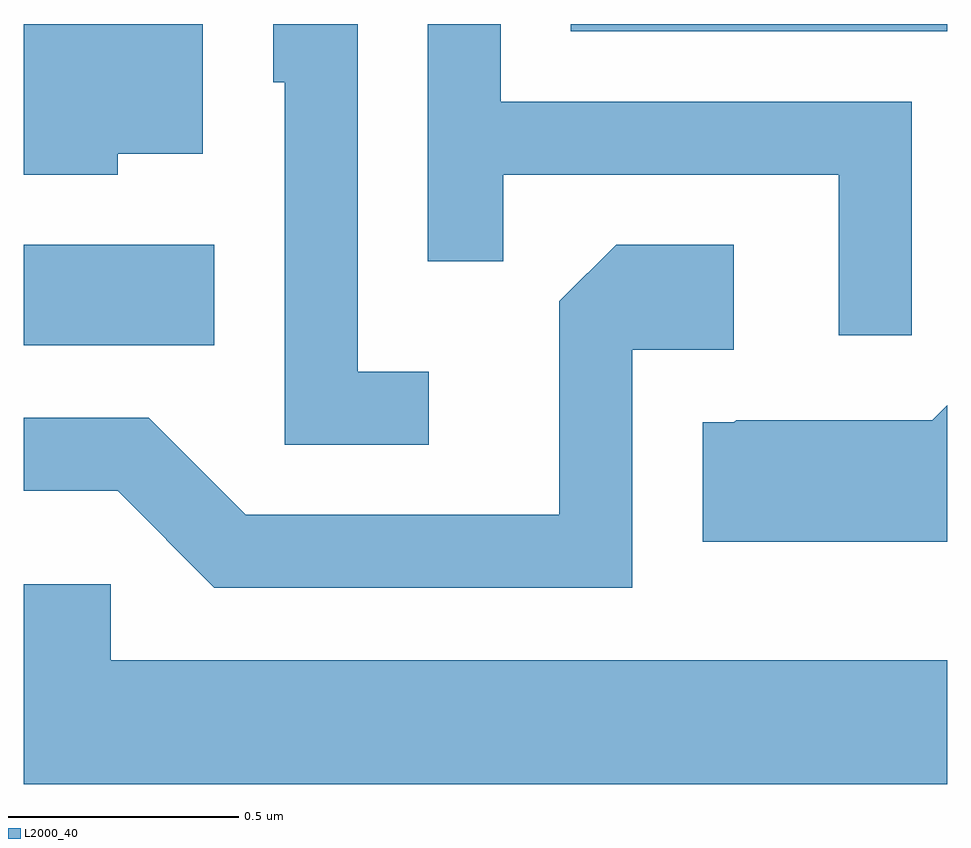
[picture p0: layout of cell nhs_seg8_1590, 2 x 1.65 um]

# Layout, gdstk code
import gdstk
lib = gdstk.Library(unit=1e-6, precision=1e-09)
def R(c, l, rs):  # rectangles x0, y0, x1, y1
    for r in rs: c.add(gdstk.rectangle(r[:2], r[2:], *l))
def P(c, l, *ps):  # polygons
    for p in ps: c.add(gdstk.Polygon(p, *l))
L2000_40 = (2000, 40)

nhs_seg8_1590 = lib.new_cell('nhs_seg8_1590')
R(nhs_seg8_1590, L2000_40, [(196.611,1890.646,197.024,1890.864), (197.796,1891.326,198.611,1891.342)])
P(nhs_seg8_1590, L2000_40, [(196.814,1891.061),(196.999,1891.061),(196.999,1891.342),(196.611,1891.342),(196.611,1891.016),(196.814,1891.016)],
  [(198.534,1891.174),(197.644,1891.174),(197.644,1891.342),(197.486,1891.342),(197.486,1890.828),(197.649,1890.828),(197.649,1891.016),(198.376,1891.016),(198.376,1890.668),(198.534,1890.668)],
  [(197.488,1890.589),(197.334,1890.589),(197.334,1891.342),(197.151,1891.342),(197.151,1891.216),(197.176,1891.216),(197.176,1890.431),(197.488,1890.431)],
  [(197.929,1890.636),(198.149,1890.636),(198.149,1890.864),(197.894,1890.864),(197.771,1890.742),(197.771,1890.279),(197.092,1890.279),(196.882,1890.489),(196.611,1890.489),(196.611,1890.331),(196.814,1890.331),(197.024,1890.121),(197.929,1890.121)],
  [(198.611,1890.516),(198.579,1890.484),(198.154,1890.484),(198.149,1890.479),(198.081,1890.479),(198.081,1890.221),(198.611,1890.221)],
  [(198.611,1889.964),(196.799,1889.964),(196.799,1890.129),(196.611,1890.129),(196.611,1889.696),(198.611,1889.696)])

lib.write_gds('nhs_seg8_1590.gds')
